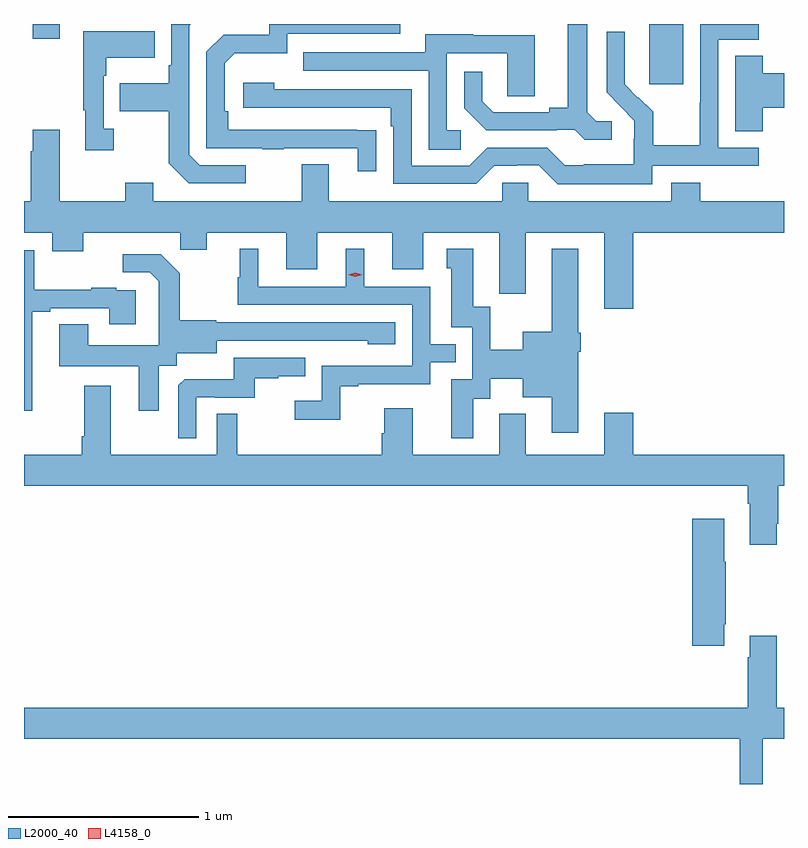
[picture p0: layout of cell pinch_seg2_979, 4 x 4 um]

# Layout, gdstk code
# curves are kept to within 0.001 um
import gdstk
lib = gdstk.Library(unit=1e-6, precision=1e-09)
def R(c, l, rs):  # rectangles x0, y0, x1, y1
    for r in rs: c.add(gdstk.rectangle(r[:2], r[2:], *l))
def P(c, l, *ps):  # polygons
    for p in ps: c.add(gdstk.Polygon(p, *l))
L2000_40 = (2000, 40)
L4158_0 = (4158, 0)

pinch_seg2_979 = lib.new_cell('pinch_seg2_979')
R(pinch_seg2_979, L2000_40, [(147.806,653.745,147.985,654.062), (144.563,653.985,144.703,654.062)])
P(pinch_seg2_979, L2000_40, [(146.369,653.504),(145.592,653.505),(145.592,653.602),(145.572,653.602),(145.572,653.856),(145.625,653.909),(145.902,653.909),(145.902,654.012),(146.497,654.012),(146.497,654.062),(145.806,654.062),(145.806,654.006),(145.566,654.006),(145.476,653.916),(145.476,653.409),(145.771,653.409),(145.771,653.404),(145.883,653.404),(145.883,653.409),(146.273,653.409),(146.273,653.286),(146.369,653.286)],
  [(147.822,653.316),(148.384,653.316),(148.384,653.412),(148.17,653.412),(148.17,653.979),(148.384,653.979),(148.384,654.062),(148.074,654.062),(148.074,653.648),(148.072,653.648),(148.072,653.425),(147.827,653.425),(147.827,653.599),(147.75,653.676),(147.747,653.673),(147.677,653.744),(147.678,654.02),(147.582,654.02),(147.582,653.702),(147.728,653.554),(147.728,653.457),(147.726,653.457),(147.726,653.323),(147.463,653.323),(147.463,653.319),(147.363,653.319),(147.27,653.412),(146.955,653.412),(146.859,653.316),(146.556,653.316),(146.556,653.718),(145.832,653.718),(145.832,653.752),(145.671,653.752),(145.671,653.622),(146.447,653.622),(146.447,653.525),(146.46,653.525),(146.46,653.22),(146.895,653.22),(146.991,653.316),(147.11,653.316),(147.11,653.319),(147.225,653.319),(147.325,653.219),(147.822,653.219)],
  [(147.61,653.55),(147.528,653.55),(147.481,653.597),(147.481,654.062),(147.377,654.062),(147.377,653.621),(147.281,653.621),(147.281,653.598),(146.986,653.598),(146.929,653.655),(146.929,653.812),(146.832,653.812),(146.832,653.618),(146.948,653.502),(147.32,653.502),(147.32,653.505),(147.414,653.505),(147.466,653.453),(147.61,653.453)],
  [(145.684,653.319),(145.44,653.319),(145.386,653.373),(145.386,654.054),(145.394,654.062),(145.29,654.062),(145.29,653.845),(145.278,653.845),(145.278,653.749),(145.021,653.749),(145.021,653.602),(145.278,653.602),(145.278,653.329),(145.383,653.223),(145.684,653.223)],
  [(144.988,653.51),(144.936,653.51),(144.936,653.789),(144.949,653.789),(144.949,653.885),(145.205,653.885),(145.205,654.025),(144.828,654.025),(144.828,653.609),(144.839,653.609),(144.839,653.397),(144.988,653.397)],
  [(146.815,653.502),(146.742,653.502),(146.742,653.907),(147.06,653.907),(147.06,653.683),(147.205,653.683),(147.205,654.003),(146.881,654.003),(146.881,654.007),(146.627,654.007),(146.627,653.913),(145.987,653.913),(145.987,653.817),(146.646,653.817),(146.646,653.401),(146.815,653.401)],
  [(148.403,653.621),(148.516,653.621),(148.516,653.804),(148.403,653.804),(148.403,653.894),(148.259,653.894),(148.259,653.497),(148.403,653.497)],
  [(146.119,653.323),(145.979,653.323),(145.979,653.128),(145.195,653.128),(145.195,653.227),(145.048,653.227),(145.048,653.128),(144.703,653.128),(144.703,653.506),(144.563,653.506),(144.563,653.393),(144.551,653.393),(144.551,653.128),(144.516,653.128),(144.516,652.964),(144.665,652.964),(144.665,652.865),(144.829,652.865),(144.829,652.964),(145.339,652.964),(145.339,652.874),(145.477,652.874),(145.477,652.964),(145.895,652.964),(145.895,652.77),(146.059,652.77),(146.059,652.964),(146.453,652.964),(146.453,652.77),(146.617,652.77),(146.617,652.964),(147.017,652.964),(147.017,652.753),(147.018,652.753),(147.018,652.641),(147.157,652.641),(147.157,652.964),(147.569,652.964),(147.569,652.563),(147.722,652.563),(147.722,652.964),(148.516,652.964),(148.516,653.128),(148.076,653.128),(148.076,653.227),(147.923,653.227),(147.923,653.128),(147.171,653.128),(147.171,653.226),(147.033,653.226),(147.033,653.128),(146.119,653.128)],
  [(146.181,652.155),(146.275,652.155),(146.275,652.167),(146.655,652.167),(146.655,652.281),(146.789,652.281),(146.789,652.377),(146.655,652.377),(146.655,652.68),(146.308,652.68),(146.308,652.879),(146.21,652.879),(146.21,652.68),(145.75,652.68),(145.75,652.879),(145.652,652.879),(145.652,652.728),(145.641,652.728),(145.641,652.584),(146.559,652.584),(146.559,652.263),(146.082,652.263),(146.082,652.078),(145.941,652.078),(145.941,651.98),(146.181,651.98)],
  [(146.881,652.09),(146.971,652.09),(146.971,652.196),(147.14,652.196),(147.14,652.097),(147.293,652.097),(147.293,651.912),(147.433,651.912),(147.433,652.337),(147.446,652.337),(147.446,652.437),(147.433,652.437),(147.433,652.879),(147.293,652.879),(147.293,652.441),(147.14,652.441),(147.14,652.348),(146.97,652.348),(146.97,652.575),(146.881,652.575),(146.881,652.879),(146.741,652.879),(146.741,652.776),(146.765,652.776),(146.765,652.467),(146.874,652.467),(146.874,652.191),(146.765,652.191),(146.765,651.882),(146.881,651.882)],
  [(144.559,652.548),(144.655,652.548),(144.655,652.566),(144.965,652.566),(144.965,652.482),(145.105,652.482),(145.105,652.662),(145.001,652.662),(145.001,652.675),(144.869,652.675),(144.869,652.664),(144.571,652.664),(144.571,652.872),(144.516,652.872),(144.516,652.026),(144.559,652.026)],
  [(145.225,652.264),(145.32,652.264),(145.32,652.328),(145.531,652.328),(145.531,652.395),(146.325,652.394),(146.325,652.376),(146.47,652.376),(146.47,652.491),(145.527,652.491),(145.527,652.504),(145.335,652.504),(145.335,652.749),(145.235,652.849),(145.035,652.849),(145.035,652.755),(145.179,652.755),(145.226,652.708),(145.226,652.613),(145.224,652.613),(145.224,652.372),(144.853,652.372),(144.853,652.481),(144.701,652.481),(144.701,652.262),(145.121,652.262),(145.121,652.026),(145.225,652.026)],
  [(145.422,652.098),(145.522,652.098),(145.522,652.095),(145.73,652.095),(145.73,652.197),(145.853,652.197),(145.853,652.208),(145.997,652.208),(145.997,652.305),(145.62,652.305),(145.62,652.193),(145.361,652.193),(145.329,652.161),(145.329,651.881),(145.422,651.881)],
  [(148.477,651.433),(148.485,651.433),(148.485,651.632),(148.516,651.632),(148.516,651.796),(147.722,651.796),(147.722,652.015),(147.569,652.015),(147.569,651.796),(147.157,651.796),(147.157,652.012),(147.017,652.012),(147.017,651.796),(146.563,651.796),(146.563,652.039),(146.411,652.039),(146.411,651.909),(146.399,651.909),(146.399,651.796),(145.639,651.796),(145.639,652.01),(145.53,652.01),(145.53,651.796),(144.973,651.796),(144.973,652.159),(144.833,652.159),(144.833,651.892),(144.821,651.892),(144.821,651.796),(144.516,651.796),(144.516,651.632),(148.325,651.632),(148.325,651.536),(148.337,651.536),(148.337,651.321),(148.477,651.321)],
  [(148.201,650.902),(148.209,650.902),(148.209,651.233),(148.201,651.233),(148.201,651.457),(148.034,651.457),(148.034,650.79),(148.201,650.79)],
  [(148.405,650.3),(148.516,650.3),(148.516,650.464),(148.477,650.464),(148.477,650.842),(148.337,650.842),(148.337,650.729),(148.325,650.729),(148.325,650.464),(144.516,650.464),(144.516,650.3),(148.284,650.3),(148.284,650.062),(148.405,650.062)])
P(pinch_seg2_979, L4158_0, [(146.259,652.732),(146.223,652.742),(146.223,652.742),(146.223,652.742),(146.259,652.752),(146.295,652.742),(146.295,652.742),(146.295,652.742)])

lib.write_gds('pinch_seg2_979.gds')
